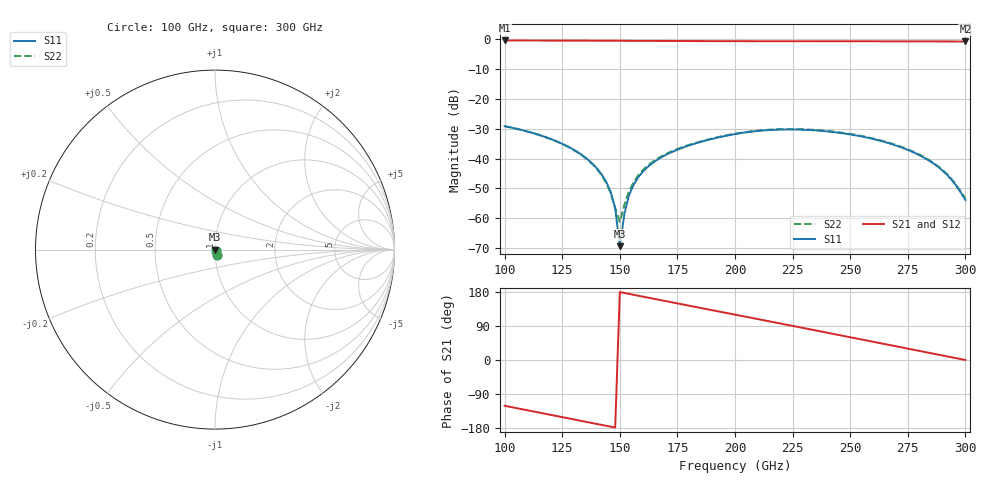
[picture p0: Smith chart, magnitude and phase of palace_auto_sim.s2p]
#  GHZ S DB R 50
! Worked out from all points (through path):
!   101 points, 100 GHz to 300 GHz, reference 50 ohm
!   highest |S21| = -0.51 dB at 100 GHz (marker M1); lowest = -0.9 dB at 300 GHz (marker M2)
!   group delay of S21, straight-line fit = 3.32 ps
!   lowest |S11| = -69.3 dB at 150 GHz (marker M3), VSWR 1.00, Z = 50 - j0.0281 ohm
!   |S11| at or under -10 dB: start of sweep to end of sweep
!   |S22| runs from -61.2 to -29.2 dB; largest |S21 - S12| = 1.1e-14
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100  -29.19 -68.7  -0.51 -120.8  -0.51 -120.8  -29.18 -68.8
120  -33.46 -89.6  -0.55 -144.8  -0.55 -144.8  -33.49 -89.2
134  -39.06 -103.5  -0.58 -161.6  -0.58 -161.6  -39.18 -101.8
142  -45.18 -110.0  -0.60 -171.2  -0.60 -171.2  -45.44 -105.3
146  -51.08 -110.8  -0.61 -175.9  -0.61 -175.9  -51.47 -99.7
148  -56.60 -107.0  -0.61 -178.3  -0.61 -178.3  -56.68 -84.5
150  -69.32 -55.1  -0.62 179.3  -0.62 179.3  -61.15 -23.7
152  -58.52 41.6  -0.62 176.9  -0.62 176.9  -55.54 24.2
154  -52.32 47.6  -0.63 174.5  -0.63 174.5  -50.96 35.7
156  -48.77 48.2  -0.63 172.1  -0.63 172.1  -47.89 39.2
160  -44.41 46.5  -0.64 167.3  -0.64 167.3  -43.89 40.1
168  -39.62 40.7  -0.67 157.7  -0.67 157.7  -39.31 36.2
182  -35.16 29.7  -0.71 141.0  -0.71 141.0  -34.98 26.2
200  -31.83 12.4  -0.75 119.7  -0.75 119.7  -31.71 9.4
218  -30.37 -9.8  -0.77 98.3  -0.77 98.3  -30.25 -12.5
234  -30.55 -30.3  -0.78 79.2  -0.78 79.2  -30.42 -33.0
250  -31.95 -49.9  -0.79 60.1  -0.79 60.1  -31.79 -52.6
268  -35.18 -70.2  -0.81 38.4  -0.81 38.4  -35.00 -73.0
280  -38.88 -81.6  -0.82 24.0  -0.82 24.0  -38.70 -84.4
288  -42.72 -86.4  -0.83 14.4  -0.83 14.4  -42.53 -89.0
294  -47.10 -84.7  -0.84 7.2  -0.84 7.2  -46.89 -86.8
300  -53.89 -60.2  -0.85 -0.0  -0.85 -0.0  -53.42 -60.8
